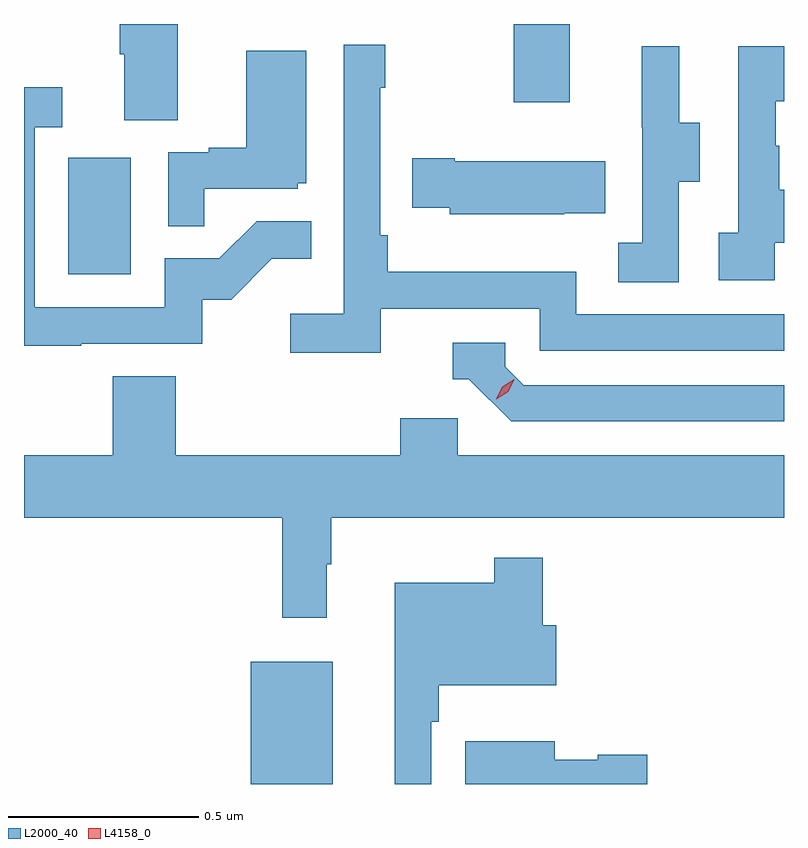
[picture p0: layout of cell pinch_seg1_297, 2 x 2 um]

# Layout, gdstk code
import gdstk
lib = gdstk.Library(unit=1e-6, precision=1e-09)
def R(c, l, rs):  # rectangles x0, y0, x1, y1
    for r in rs: c.add(gdstk.rectangle(r[:2], r[2:], *l))
def P(c, l, *ps):  # polygons
    for p in ps: c.add(gdstk.Polygon(p, *l))
L2000_40 = (2000, 40)
L4158_0 = (4158, 0)

pinch_seg1_297 = lib.new_cell('pinch_seg1_297')
R(pinch_seg1_297, L2000_40, [(934.586,545.703,934.801,546.025), (934.106,547.044,934.27,547.351), (935.278,547.497,935.425,547.703)])
P(pinch_seg1_297, L2000_40, [(934.393,547.703),(934.241,547.703),(934.241,547.624),(934.253,547.624),(934.253,547.45),(934.393,547.45)],
  [(934.928,546.954),(935.346,546.954),(935.346,546.843),(935.989,546.843),(935.989,546.939),(935.442,546.939),(935.442,547.051),(934.946,547.051),(934.946,547.147),(934.926,547.147),(934.926,547.535),(934.939,547.535),(934.939,547.648),(934.83,547.648),(934.83,546.94),(934.689,546.94),(934.689,546.838),(934.928,546.838)],
  [(935.964,547.127),(935.989,547.127),(935.989,547.267),(935.977,547.267),(935.977,547.382),(935.967,547.382),(935.967,547.5),(935.989,547.5),(935.989,547.645),(935.868,547.645),(935.868,547.154),(935.817,547.154),(935.817,547.029),(935.964,547.029)],
  [(935.712,547.288),(935.767,547.288),(935.767,547.443),(935.713,547.443),(935.713,547.645),(935.615,547.645),(935.615,547.431),(935.616,547.431),(935.616,547.127),(935.553,547.127),(935.553,547.024),(935.712,547.024)],
  [(934.463,547.269),(934.71,547.269),(934.71,547.284),(934.732,547.284),(934.732,547.633),(934.574,547.633),(934.574,547.378),(934.475,547.378),(934.475,547.365),(934.368,547.365),(934.368,547.171),(934.463,547.171)],
  [(934.139,546.861),(934.458,546.861),(934.458,546.978),(934.534,546.978),(934.641,547.085),(934.745,547.085),(934.745,547.184),(934.601,547.184),(934.503,547.086),(934.359,547.086),(934.359,546.957),(934.017,546.957),(934.017,547.431),(934.09,547.431),(934.09,547.537),(933.989,547.537),(933.989,546.856),(934.139,546.856)],
  [(935.411,547.205),(935.519,547.205),(935.519,547.342),(935.122,547.342),(935.122,547.35),(935.011,547.35),(935.011,547.22),(935.109,547.22),(935.109,547.202),(935.411,547.202)],
  [(935.989,546.753),(935.304,546.753),(935.256,546.801),(935.256,546.864),(935.117,546.864),(935.117,546.768),(935.16,546.768),(935.271,546.657),(935.989,546.657)],
  [(934.223,546.776),(934.223,546.568),(933.989,546.568),(933.989,546.404),(934.669,546.404),(934.669,546.141),(934.786,546.141),(934.786,546.281),(934.798,546.281),(934.798,546.404),(935.989,546.404),(935.989,546.568),(935.13,546.568),(935.13,546.666),(934.979,546.666),(934.979,546.568),(934.388,546.568),(934.388,546.776)],
  [(935.061,545.867),(935.081,545.867),(935.081,545.963),(935.389,545.963),(935.389,546.121),(935.354,546.121),(935.354,546.298),(935.226,546.298),(935.226,546.232),(934.964,546.232),(934.964,545.703),(935.061,545.703)],
  [(935.629,545.78),(935.499,545.78),(935.499,545.767),(935.386,545.767),(935.386,545.815),(935.15,545.815),(935.15,545.703),(935.629,545.703)])
P(pinch_seg1_297, L4158_0, [(935.232,546.715),(935.232,546.715),(935.248,546.748),(935.279,546.768),(935.279,546.768),(935.279,546.768),(935.263,546.735),(935.232,546.715)])

lib.write_gds('pinch_seg1_297.gds')
